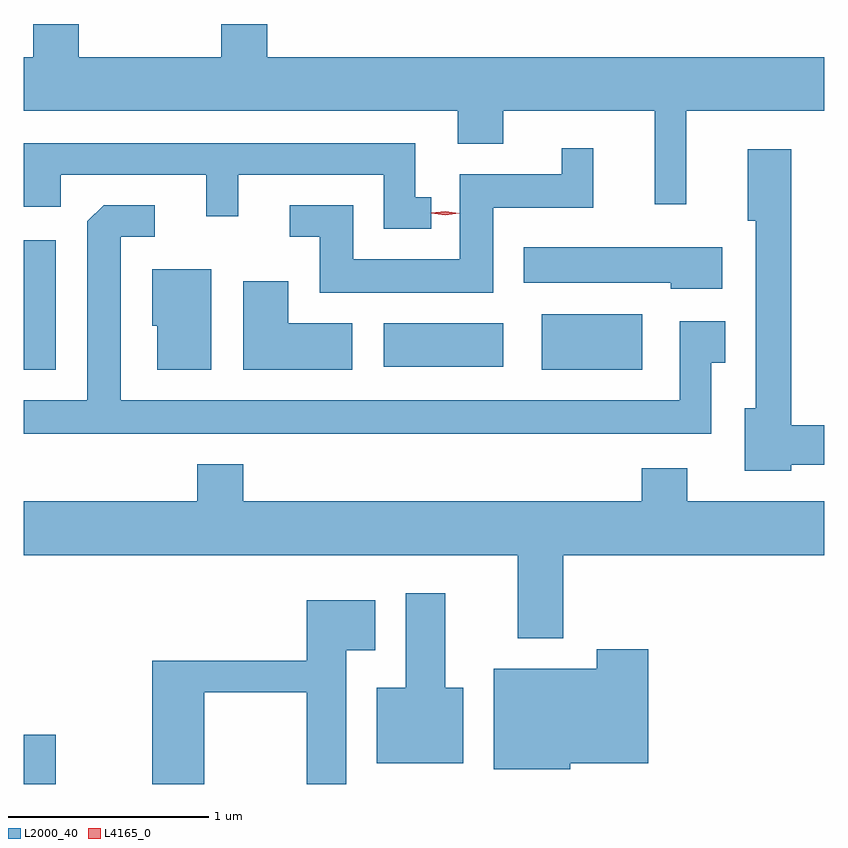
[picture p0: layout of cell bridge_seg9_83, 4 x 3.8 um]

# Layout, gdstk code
import gdstk
lib = gdstk.Library(unit=1e-6, precision=1e-09)
def R(c, l, rs):  # rectangles x0, y0, x1, y1
    for r in rs: c.add(gdstk.rectangle(r[:2], r[2:], *l))
def P(c, l, *ps):  # polygons
    for p in ps: c.add(gdstk.Polygon(p, *l))
L2000_40 = (2000, 40)
L4165_0 = (4165, 0)

bridge_seg9_83 = lib.new_cell('bridge_seg9_83')
R(bridge_seg9_83, L2000_40, [(1717.563,1981.792,1717.724,1982.039), (1717.563,1983.861,1717.724,1984.509), (1720.151,1983.861,1720.654,1984.139), (1719.361,1983.876,1719.959,1984.094)])
P(bridge_seg9_83, L2000_40, [(1720.874,1985.156),(1721.563,1985.156),(1721.563,1985.424),(1718.779,1985.424),(1718.779,1985.589),(1718.551,1985.589),(1718.551,1985.424),(1717.839,1985.424),(1717.839,1985.589),(1717.611,1985.589),(1717.611,1985.424),(1717.563,1985.424),(1717.563,1985.156),(1719.731,1985.156),(1719.731,1984.991),(1719.959,1984.991),(1719.959,1985.156),(1720.716,1985.156),(1720.716,1984.688),(1720.874,1984.688)],
  [(1719.598,1984.724),(1719.519,1984.724),(1719.519,1984.994),(1717.563,1984.994),(1717.563,1984.676),(1717.749,1984.676),(1717.749,1984.836),(1718.476,1984.836),(1718.476,1984.628),(1718.634,1984.628),(1718.634,1984.836),(1719.361,1984.836),(1719.361,1984.566),(1719.598,1984.566)],
  [(1719.909,1984.671),(1720.409,1984.671),(1720.409,1984.968),(1720.251,1984.968),(1720.251,1984.839),(1719.741,1984.839),(1719.741,1984.414),(1719.209,1984.414),(1719.209,1984.684),(1718.893,1984.684),(1718.893,1984.526),(1719.041,1984.526),(1719.041,1984.246),(1719.909,1984.246)],
  [(1721.399,1983.386),(1721.563,1983.386),(1721.563,1983.584),(1721.399,1983.584),(1721.399,1984.964),(1721.181,1984.964),(1721.181,1984.606),(1721.221,1984.606),(1721.221,1983.669),(1721.166,1983.669),(1721.166,1983.356),(1721.399,1983.356)],
  [(1720.999,1983.896),(1721.069,1983.896),(1721.069,1984.104),(1720.841,1984.104),(1720.841,1983.709),(1718.049,1983.709),(1718.049,1984.526),(1718.218,1984.526),(1718.218,1984.684),(1717.962,1984.684),(1717.881,1984.604),(1717.881,1983.709),(1717.563,1983.709),(1717.563,1983.541),(1720.999,1983.541)],
  [(1721.054,1984.474),(1720.061,1984.474),(1720.061,1984.296),(1720.796,1984.296),(1720.796,1984.266),(1721.054,1984.266)],
  [(1718.499,1984.364),(1718.206,1984.364),(1718.206,1984.081),(1718.231,1984.081),(1718.231,1983.861),(1718.499,1983.861)],
  [(1719.204,1984.094),(1718.884,1984.094),(1718.884,1984.304),(1718.661,1984.304),(1718.661,1983.861),(1719.204,1983.861)],
  [(1720.259,1982.936),(1721.563,1982.936),(1721.563,1983.204),(1720.879,1983.204),(1720.879,1983.369),(1720.651,1983.369),(1720.651,1983.204),(1718.659,1983.204),(1718.659,1983.389),(1718.431,1983.389),(1718.431,1983.204),(1717.563,1983.204),(1717.563,1982.936),(1720.031,1982.936),(1720.031,1982.521),(1720.259,1982.521)],
  [(1719.759,1982.274),(1719.669,1982.274),(1719.669,1982.744),(1719.471,1982.744),(1719.471,1982.274),(1719.326,1982.274),(1719.326,1981.896),(1719.759,1981.896)],
  [(1718.464,1982.251),(1718.976,1982.251),(1718.976,1981.792),(1719.174,1981.792),(1719.174,1982.461),(1719.319,1982.461),(1719.319,1982.709),(1718.976,1982.709),(1718.976,1982.409),(1718.206,1982.409),(1718.206,1981.792),(1718.464,1981.792)],
  [(1720.294,1981.896),(1720.684,1981.896),(1720.684,1982.464),(1720.426,1982.464),(1720.426,1982.369),(1719.911,1982.369),(1719.911,1981.866),(1720.294,1981.866)])
P(bridge_seg9_83, L4165_0, [(1719.668,1984.634),(1719.599,1984.644),(1719.599,1984.644),(1719.599,1984.645),(1719.668,1984.654),(1719.738,1984.644),(1719.738,1984.644),(1719.738,1984.644)])

lib.write_gds('bridge_seg9_83.gds')
